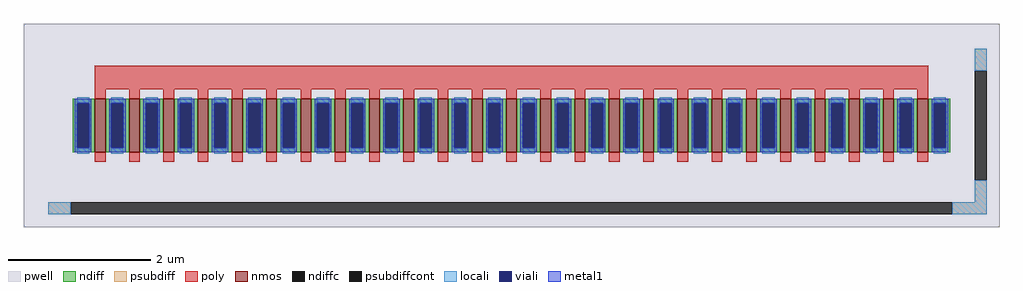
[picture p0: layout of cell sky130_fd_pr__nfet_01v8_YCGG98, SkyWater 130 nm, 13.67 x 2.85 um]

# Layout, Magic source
magic
tech sky130A
magscale 1 2
<< pwell >>
rect -1367 -285 1367 285
<< nmos >>
rect -1167 -75 -1137 75
rect -1071 -75 -1041 75
rect -975 -75 -945 75
rect -879 -75 -849 75
rect -783 -75 -753 75
rect -687 -75 -657 75
rect -591 -75 -561 75
rect -495 -75 -465 75
rect -399 -75 -369 75
rect -303 -75 -273 75
rect -207 -75 -177 75
rect -111 -75 -81 75
rect -15 -75 15 75
rect 81 -75 111 75
rect 177 -75 207 75
rect 273 -75 303 75
rect 369 -75 399 75
rect 465 -75 495 75
rect 561 -75 591 75
rect 657 -75 687 75
rect 753 -75 783 75
rect 849 -75 879 75
rect 945 -75 975 75
rect 1041 -75 1071 75
rect 1137 -75 1167 75
<< ndiff >>
rect -1229 63 -1167 75
rect -1229 -63 -1217 63
rect -1183 -63 -1167 63
rect -1229 -75 -1167 -63
rect -1137 63 -1071 75
rect -1137 -63 -1121 63
rect -1087 -63 -1071 63
rect -1137 -75 -1071 -63
rect -1041 63 -975 75
rect -1041 -63 -1025 63
rect -991 -63 -975 63
rect -1041 -75 -975 -63
rect -945 63 -879 75
rect -945 -63 -929 63
rect -895 -63 -879 63
rect -945 -75 -879 -63
rect -849 63 -783 75
rect -849 -63 -833 63
rect -799 -63 -783 63
rect -849 -75 -783 -63
rect -753 63 -687 75
rect -753 -63 -737 63
rect -703 -63 -687 63
rect -753 -75 -687 -63
rect -657 63 -591 75
rect -657 -63 -641 63
rect -607 -63 -591 63
rect -657 -75 -591 -63
rect -561 63 -495 75
rect -561 -63 -545 63
rect -511 -63 -495 63
rect -561 -75 -495 -63
rect -465 63 -399 75
rect -465 -63 -449 63
rect -415 -63 -399 63
rect -465 -75 -399 -63
rect -369 63 -303 75
rect -369 -63 -353 63
rect -319 -63 -303 63
rect -369 -75 -303 -63
rect -273 63 -207 75
rect -273 -63 -257 63
rect -223 -63 -207 63
rect -273 -75 -207 -63
rect -177 63 -111 75
rect -177 -63 -161 63
rect -127 -63 -111 63
rect -177 -75 -111 -63
rect -81 63 -15 75
rect -81 -63 -65 63
rect -31 -63 -15 63
rect -81 -75 -15 -63
rect 15 63 81 75
rect 15 -63 31 63
rect 65 -63 81 63
rect 15 -75 81 -63
rect 111 63 177 75
rect 111 -63 127 63
rect 161 -63 177 63
rect 111 -75 177 -63
rect 207 63 273 75
rect 207 -63 223 63
rect 257 -63 273 63
rect 207 -75 273 -63
rect 303 63 369 75
rect 303 -63 319 63
rect 353 -63 369 63
rect 303 -75 369 -63
rect 399 63 465 75
rect 399 -63 415 63
rect 449 -63 465 63
rect 399 -75 465 -63
rect 495 63 561 75
rect 495 -63 511 63
rect 545 -63 561 63
rect 495 -75 561 -63
rect 591 63 657 75
rect 591 -63 607 63
rect 641 -63 657 63
rect 591 -75 657 -63
rect 687 63 753 75
rect 687 -63 703 63
rect 737 -63 753 63
rect 687 -75 753 -63
rect 783 63 849 75
rect 783 -63 799 63
rect 833 -63 849 63
rect 783 -75 849 -63
rect 879 63 945 75
rect 879 -63 895 63
rect 929 -63 945 63
rect 879 -75 945 -63
rect 975 63 1041 75
rect 975 -63 991 63
rect 1025 -63 1041 63
rect 975 -75 1041 -63
rect 1071 63 1137 75
rect 1071 -63 1087 63
rect 1121 -63 1137 63
rect 1071 -75 1137 -63
rect 1167 63 1229 75
rect 1167 -63 1183 63
rect 1217 -63 1229 63
rect 1167 -75 1229 -63
<< ndiffc >>
rect -1217 -63 -1183 63
rect -1121 -63 -1087 63
rect -1025 -63 -991 63
rect -929 -63 -895 63
rect -833 -63 -799 63
rect -737 -63 -703 63
rect -641 -63 -607 63
rect -545 -63 -511 63
rect -449 -63 -415 63
rect -353 -63 -319 63
rect -257 -63 -223 63
rect -161 -63 -127 63
rect -65 -63 -31 63
rect 31 -63 65 63
rect 127 -63 161 63
rect 223 -63 257 63
rect 319 -63 353 63
rect 415 -63 449 63
rect 511 -63 545 63
rect 607 -63 641 63
rect 703 -63 737 63
rect 799 -63 833 63
rect 895 -63 929 63
rect 991 -63 1025 63
rect 1087 -63 1121 63
rect 1183 -63 1217 63
<< psubdiff >>
rect 1297 153 1331 215
rect 1297 -215 1331 -153
rect -1297 -249 -1235 -215
rect 1235 -249 1331 -215
<< psubdiffcont >>
rect 1297 -153 1331 153
rect -1235 -249 1235 -215
<< poly >>
rect -1167 101 1167 167
rect -1167 75 -1137 101
rect -1071 75 -1041 101
rect -975 75 -945 101
rect -879 75 -849 101
rect -783 75 -753 101
rect -687 75 -657 101
rect -591 75 -561 101
rect -495 75 -465 101
rect -399 75 -369 101
rect -303 75 -273 101
rect -207 75 -177 101
rect -111 75 -81 101
rect -15 75 15 101
rect 81 75 111 101
rect 177 75 207 101
rect 273 75 303 101
rect 369 75 399 101
rect 465 75 495 101
rect 561 75 591 101
rect 657 75 687 101
rect 753 75 783 101
rect 849 75 879 101
rect 945 75 975 101
rect 1041 75 1071 101
rect 1137 75 1167 101
rect -1167 -101 -1137 -75
rect -1071 -101 -1041 -75
rect -975 -101 -945 -75
rect -879 -101 -849 -75
rect -783 -101 -753 -75
rect -687 -101 -657 -75
rect -591 -101 -561 -75
rect -495 -101 -465 -75
rect -399 -101 -369 -75
rect -303 -101 -273 -75
rect -207 -101 -177 -75
rect -111 -101 -81 -75
rect -15 -101 15 -75
rect 81 -101 111 -75
rect 177 -101 207 -75
rect 273 -101 303 -75
rect 369 -101 399 -75
rect 465 -101 495 -75
rect 561 -101 591 -75
rect 657 -101 687 -75
rect 753 -101 783 -75
rect 849 -101 879 -75
rect 945 -101 975 -75
rect 1041 -101 1071 -75
rect 1137 -101 1167 -75
<< locali >>
rect 1297 153 1331 215
rect -1217 63 -1183 79
rect -1217 -79 -1183 -63
rect -1121 63 -1087 79
rect -1121 -79 -1087 -63
rect -1025 63 -991 79
rect -1025 -79 -991 -63
rect -929 63 -895 79
rect -929 -79 -895 -63
rect -833 63 -799 79
rect -833 -79 -799 -63
rect -737 63 -703 79
rect -737 -79 -703 -63
rect -641 63 -607 79
rect -641 -79 -607 -63
rect -545 63 -511 79
rect -545 -79 -511 -63
rect -449 63 -415 79
rect -449 -79 -415 -63
rect -353 63 -319 79
rect -353 -79 -319 -63
rect -257 63 -223 79
rect -257 -79 -223 -63
rect -161 63 -127 79
rect -161 -79 -127 -63
rect -65 63 -31 79
rect -65 -79 -31 -63
rect 31 63 65 79
rect 31 -79 65 -63
rect 127 63 161 79
rect 127 -79 161 -63
rect 223 63 257 79
rect 223 -79 257 -63
rect 319 63 353 79
rect 319 -79 353 -63
rect 415 63 449 79
rect 415 -79 449 -63
rect 511 63 545 79
rect 511 -79 545 -63
rect 607 63 641 79
rect 607 -79 641 -63
rect 703 63 737 79
rect 703 -79 737 -63
rect 799 63 833 79
rect 799 -79 833 -63
rect 895 63 929 79
rect 895 -79 929 -63
rect 991 63 1025 79
rect 991 -79 1025 -63
rect 1087 63 1121 79
rect 1087 -79 1121 -63
rect 1183 63 1217 79
rect 1183 -79 1217 -63
rect 1297 -215 1331 -153
rect -1297 -249 -1235 -215
rect 1235 -249 1331 -215
<< viali >>
rect -1217 -63 -1183 63
rect -1121 -63 -1087 63
rect -1025 -63 -991 63
rect -929 -63 -895 63
rect -833 -63 -799 63
rect -737 -63 -703 63
rect -641 -63 -607 63
rect -545 -63 -511 63
rect -449 -63 -415 63
rect -353 -63 -319 63
rect -257 -63 -223 63
rect -161 -63 -127 63
rect -65 -63 -31 63
rect 31 -63 65 63
rect 127 -63 161 63
rect 223 -63 257 63
rect 319 -63 353 63
rect 415 -63 449 63
rect 511 -63 545 63
rect 607 -63 641 63
rect 703 -63 737 63
rect 799 -63 833 63
rect 895 -63 929 63
rect 991 -63 1025 63
rect 1087 -63 1121 63
rect 1183 -63 1217 63
<< metal1 >>
rect -1223 63 -1177 75
rect -1223 -63 -1217 63
rect -1183 -63 -1177 63
rect -1223 -75 -1177 -63
rect -1127 63 -1081 75
rect -1127 -63 -1121 63
rect -1087 -63 -1081 63
rect -1127 -75 -1081 -63
rect -1031 63 -985 75
rect -1031 -63 -1025 63
rect -991 -63 -985 63
rect -1031 -75 -985 -63
rect -935 63 -889 75
rect -935 -63 -929 63
rect -895 -63 -889 63
rect -935 -75 -889 -63
rect -839 63 -793 75
rect -839 -63 -833 63
rect -799 -63 -793 63
rect -839 -75 -793 -63
rect -743 63 -697 75
rect -743 -63 -737 63
rect -703 -63 -697 63
rect -743 -75 -697 -63
rect -647 63 -601 75
rect -647 -63 -641 63
rect -607 -63 -601 63
rect -647 -75 -601 -63
rect -551 63 -505 75
rect -551 -63 -545 63
rect -511 -63 -505 63
rect -551 -75 -505 -63
rect -455 63 -409 75
rect -455 -63 -449 63
rect -415 -63 -409 63
rect -455 -75 -409 -63
rect -359 63 -313 75
rect -359 -63 -353 63
rect -319 -63 -313 63
rect -359 -75 -313 -63
rect -263 63 -217 75
rect -263 -63 -257 63
rect -223 -63 -217 63
rect -263 -75 -217 -63
rect -167 63 -121 75
rect -167 -63 -161 63
rect -127 -63 -121 63
rect -167 -75 -121 -63
rect -71 63 -25 75
rect -71 -63 -65 63
rect -31 -63 -25 63
rect -71 -75 -25 -63
rect 25 63 71 75
rect 25 -63 31 63
rect 65 -63 71 63
rect 25 -75 71 -63
rect 121 63 167 75
rect 121 -63 127 63
rect 161 -63 167 63
rect 121 -75 167 -63
rect 217 63 263 75
rect 217 -63 223 63
rect 257 -63 263 63
rect 217 -75 263 -63
rect 313 63 359 75
rect 313 -63 319 63
rect 353 -63 359 63
rect 313 -75 359 -63
rect 409 63 455 75
rect 409 -63 415 63
rect 449 -63 455 63
rect 409 -75 455 -63
rect 505 63 551 75
rect 505 -63 511 63
rect 545 -63 551 63
rect 505 -75 551 -63
rect 601 63 647 75
rect 601 -63 607 63
rect 641 -63 647 63
rect 601 -75 647 -63
rect 697 63 743 75
rect 697 -63 703 63
rect 737 -63 743 63
rect 697 -75 743 -63
rect 793 63 839 75
rect 793 -63 799 63
rect 833 -63 839 63
rect 793 -75 839 -63
rect 889 63 935 75
rect 889 -63 895 63
rect 929 -63 935 63
rect 889 -75 935 -63
rect 985 63 1031 75
rect 985 -63 991 63
rect 1025 -63 1031 63
rect 985 -75 1031 -63
rect 1081 63 1127 75
rect 1081 -63 1087 63
rect 1121 -63 1127 63
rect 1081 -75 1127 -63
rect 1177 63 1223 75
rect 1177 -63 1183 63
rect 1217 -63 1223 63
rect 1177 -75 1223 -63
<< properties >>
string gencell sky130_fd_pr__nfet_01v8
string FIXED_BBOX -1314 -232 1314 232
string parameters w 0.75 l 0.150 m 1 nf 25 diffcov 100 polycov 100 guard 1 glc 1 grc 1 gtc 0 gbc 1 tbcov 100 rlcov 100 topc 1 botc 0 poverlap 0 doverlap 1 lmin 0.15 wmin 0.42 compatible {sky130_fd_pr__nfet_01v8 sky130_fd_pr__nfet_01v8_lvt  sky130_fd_bs_flash__special_sonosfet_star  sky130_fd_pr__nfet_g5v0d10v5 sky130_fd_pr__nfet_05v0_nvt  sky130_fd_pr__nfet_03v3_nvt} full_metal 1 viasrc 100 viadrn 100 viagate 100 viagb 0 viagr 0 viagl 0 viagt 0
string library sky130
<< end >>
